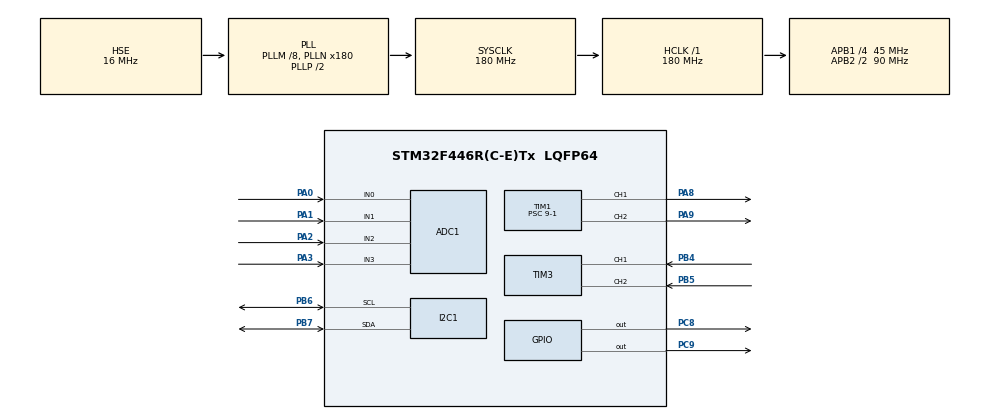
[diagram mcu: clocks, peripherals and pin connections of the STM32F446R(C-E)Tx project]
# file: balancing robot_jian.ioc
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ADC1.Channel-0\#ChannelRegularConversion=ADC_CHANNEL_0
ADC1.Channel-1\#ChannelRegularConversion=ADC_CHANNEL_0
ADC1.Channel-2\#ChannelRegularConversion=ADC_CHANNEL_0
ADC1.Channel-3\#ChannelRegularConversion=ADC_CHANNEL_0
ADC1.DMAContinuousRequests=ENABLE
ADC1.NbrOfConversion=4
ADC1.NbrOfConversionFlag=1
ADC1.Rank-0\#ChannelRegularConversion=1
ADC1.Rank-1\#ChannelRegularConversion=2
ADC1.Rank-2\#ChannelRegularConversion=3
ADC1.Rank-3\#ChannelRegularConversion=4
ADC1.SamplingTime-0\#ChannelRegularConversion=ADC_SAMPLETIME_15CYCLES
ADC1.SamplingTime-1\#ChannelRegularConversion=ADC_SAMPLETIME_15CYCLES
ADC1.SamplingTime-2\#ChannelRegularConversion=ADC_SAMPLETIME_15CYCLES
ADC1.SamplingTime-3\#ChannelRegularConversion=ADC_SAMPLETIME_15CYCLES
ADC1.ScanConvMode=ENABLE
ADC1.master=1
Dma.ADC1.0.Direction=DMA_PERIPH_TO_MEMORY
Dma.ADC1.0.FIFOMode=DMA_FIFOMODE_DISABLE
Dma.ADC1.0.Instance=DMA2_Stream0
Dma.ADC1.0.MemDataAlignment=DMA_MDATAALIGN_WORD
Dma.ADC1.0.MemInc=DMA_MINC_ENABLE
Dma.ADC1.0.Mode=DMA_CIRCULAR
Dma.ADC1.0.PeriphDataAlignment=DMA_PDATAALIGN_WORD
Dma.ADC1.0.PeriphInc=DMA_PINC_DISABLE
Dma.ADC1.0.Priority=DMA_PRIORITY_LOW
Dma.Request0=ADC1
Mcu.Family=STM32F4
Mcu.Name=STM32F446R(C-E)Tx
Mcu.Package=LQFP64
NVIC.ADC_IRQn=true\:0\:0\:false\:false\:true\:true\:true\:true
NVIC.DMA2_Stream0_IRQn=true\:0\:0\:false\:false\:true\:false\:true\:true
NVIC.PriorityGroup=NVIC_PRIORITYGROUP_4
NVIC.TIM1_BRK_TIM9_IRQn=true\:0\:0\:false\:false\:true\:true\:true\:true
NVIC.TIM1_CC_IRQn=true\:0\:0\:false\:false\:true\:true\:true\:true
NVIC.TIM1_TRG_COM_TIM11_IRQn=true\:0\:0\:false\:false\:true\:true\:true\:true
NVIC.TIM1_UP_TIM10_IRQn=true\:0\:0\:false\:false\:true\:true\:true\:true
NVIC.TIM6_DAC_IRQn=true\:0\:0\:false\:false\:true\:true\:true\:true
NVIC.TIM8_UP_TIM13_IRQn=true\:0\:0\:false\:false\:true\:true\:true\:true
PA0-WKUP.Signal=ADCx_IN0
PA1.Signal=ADCx_IN1
PA13.Mode=Serial_Wire
PA13.Signal=SYS_JTMS-SWDIO
PA14.Mode=Serial_Wire
PA14.Signal=SYS_JTCK-SWCLK
PA2.Signal=ADCx_IN2
PA3.Signal=ADCx_IN3
PA8.Signal=S_TIM1_CH1
PA9.Signal=S_TIM1_CH2
PB4.GPIO_PuPd=GPIO_PULLUP
PB4.Signal=S_TIM3_CH1
PB5.GPIO_PuPd=GPIO_PULLUP
PB5.Signal=S_TIM3_CH2
PB6.Mode=I2C
PB6.Signal=I2C1_SCL
PB7.Mode=I2C
PB7.Signal=I2C1_SDA
PC8.Signal=GPIO_Output
PC9.Signal=GPIO_Output
PH0-OSC_IN.Mode=HSE-External-Oscillator
PH0-OSC_IN.Signal=RCC_OSC_IN
PH1-OSC_OUT.Mode=HSE-External-Oscillator
PH1-OSC_OUT.Signal=RCC_OSC_OUT
ProjectManager.HeapSize=0x200
ProjectManager.StackSize=0x400
ProjectManager.TargetToolchain=STM32CubeIDE
RCC.AHBFreq_Value=180000000
RCC.APB1CLKDivider=RCC_HCLK_DIV4
RCC.APB1Freq_Value=45000000
RCC.APB1TimFreq_Value=90000000
RCC.APB2CLKDivider=RCC_HCLK_DIV2
RCC.APB2Freq_Value=90000000
RCC.APB2TimFreq_Value=180000000
RCC.CortexFreq_Value=180000000
RCC.HCLKFreq_Value=180000000
RCC.HSE_VALUE=16000000
RCC.PLLM=8
RCC.PLLN=180
RCC.PLLSourceVirtual=RCC_PLLSOURCE_HSE
RCC.SYSCLKFreq_VALUE=180000000
RCC.SYSCLKSource=RCC_SYSCLKSOURCE_PLLCLK
RCC.USBFreq_Value=180000000
RCC.VCOOutputFreq_Value=360000000
SH.ADCx_IN0.0=ADC1_IN0,IN0
SH.ADCx_IN1.0=ADC1_IN1,IN1
SH.ADCx_IN2.0=ADC1_IN2,IN2
SH.ADCx_IN3.0=ADC1_IN3,IN3
SH.S_TIM1_CH1.0=TIM1_CH1,PWM Generation1 CH1
SH.S_TIM1_CH2.0=TIM1_CH2,PWM Generation2 CH2
SH.S_TIM3_CH1.0=TIM3_CH1,Encoder_Interface
SH.S_TIM3_CH2.0=TIM3_CH2,Encoder_Interface
TIM1.Channel-PWM\ Generation1\ CH1=TIM_CHANNEL_1
TIM1.Channel-PWM\ Generation2\ CH2=TIM_CHANNEL_2
TIM1.Period=1000-1
TIM1.Prescaler=9-1
TIM3.EncoderMode=TIM_ENCODERMODE_TI12
TIM3.IC1Filter=5
TIM3.IC2Filter=5
TIM6.Period=1000-1
TIM6.Prescaler=900-1
TIM8.Period=10000-1
TIM8.Prescaler=180-1
TIM8.TIM_MasterOutputTrigger=TIM_TRGO_UPDATE
VP_TIM6_VS_ClockSourceINT.Mode=Enable_Timer
VP_TIM8_VS_ClockSourceINT.Mode=Internal
board=custom

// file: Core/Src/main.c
/* USER CODE BEGIN Header */
/**
  ******************************************************************************
  * @file           : main.c
  * @brief          : Main program body
  ******************************************************************************
  * @attention
  *
  * Copyright (c) 2024 STMicroelectronics.
  * All rights reserved.
  *
  * This software is licensed under terms that can be found in the LICENSE file
  * in the root directory of this software component.
  * If no LICENSE file comes with this software, it is provided AS-IS.
  *
  ******************************************************************************
  */
/* USER CODE END Header */
#include "main.h"

#include "adc.h"
#include "dma.h"
#include "i2c.h"
#include "tim.h"
#include "gpio.h"
#include <math.h>

/* USER CODE BEGIN Includes */
int target_speed = 0;
int speed = 0;
int current_speed;
int encoder_value;
int count = 0;
int encoder_arr[2];
int target_rpm;
int current_rpm;
float angle_xz_filtered = 0;
const float alpha = 0.98;
float angle_xz_kalman = 0;
float Q_angle = 0.001;
float Q_gyro = 0.003;
float R_angle = 0.5;

float bias = 0;
float P[2][2] = {{1, 0}, {0, 1}};
float Ax, Ay, Az, Gx, Gy, Gz;
float angle_xz;
float filtered_angle;

float Kp = 7;
float Ki = 0.6;
float Kd = 0.6;
float integral = 0;
float prev_error = 0;
float prev_derivative = 0;
float dt = 0.01;
float motor_value;
float a;
float pid_output;
float chg = -3.5;
/* USER CODE END Includes */

/* USER CODE BEGIN PD */
#define MPU6050_ADDR 0xD0
#define MPU6050_SMPLRT_DIV_REG 0x19
#define MPU6050_CONFIG_REG 0x1A
#define MPU6050_GYRO_CONFIG_REG 0x1B
#define MPU6050_ACCEL_CONFIG_REG 0x1C
#define MPU6050_WHO_AM_I_REG 0x75
#define MPU6050_PWR_MGMT_1_REG 0x6B
#define MPU6050_ACCEL_XOUT_H_REG 0x3B
#define MPU6050_GYRO_XOUT_H_REG 0x43

#define INTEGRAL_MAX 200
#define INTEGRAL_MIN -200

#define MIN_MOTOR_OUTPUT 80
#define MAX_MOTOR_OUTPUT 450

#define ANGLE_THRESHOLD 0
#define MAX_RESPONSE_ANGLE 45.0
/* USER CODE END PD */

/* USER CODE BEGIN PV */
uint8_t check;
int16_t Accel_X_RAW = 0;
int16_t Accel_Y_RAW = 0;
int16_t Accel_Z_RAW = 0;
int16_t Gyro_X_RAW = 0;
int16_t Gyro_Y_RAW = 0;
int16_t Gyro_Z_RAW = 0;
/* USER CODE END PV */

void SystemClock_Config(void);
/* USER CODE BEGIN PFP */
void MPU6050_Init(void);
void MPU6050_Read_Accel(void);
void MPU6050_Read_Gyro(void);
float Calculate_XZ_Angle(float Gx, float Gz);

void SystemClock_Config(void);
void Error_Handler(void);
void Update_Angle(void);
void Kalman_Filter(float new_angle, float new_rate);
/* USER CODE END PFP */

/* USER CODE BEGIN 0 */

float non_linear_response(float angle)
{
    float abs_angle = fabs(angle);
    float sign = (angle >= 0) ? 1.0f : -1.0f;

    if (abs_angle <= ANGLE_THRESHOLD)
    {
        return sign * (abs_angle * 0.8f);
    }
    else
    {
        float normalized = (abs_angle - ANGLE_THRESHOLD) / (MAX_RESPONSE_ANGLE - ANGLE_THRESHOLD);
        float response = ANGLE_THRESHOLD + (MAX_RESPONSE_ANGLE - ANGLE_THRESHOLD) *
                         (1 - expf(-1.5 * normalized));
        return sign * fminf(response, MAX_RESPONSE_ANGLE);
    }
}

float calculate_pid(float setpoint, float measured_value)
{
    float error = setpoint - measured_value;
    float non_linear_error = non_linear_response(error);

    integral += non_linear_error * dt;
    integral = fmaxf(fminf(integral, INTEGRAL_MAX), INTEGRAL_MIN);

    float derivative = (non_linear_error - prev_error) / dt;
    float filtered_derivative = 0.7f * derivative + 0.3f * prev_derivative;

    float output = Kp * non_linear_error + Ki * integral + Kd * filtered_derivative;

    if (fabs(error) > 0.2f)
    {
        float min_output = MIN_MOTOR_OUTPUT * (fminf(fabs(error), 1.0f) / 1.0f);
        if (fabs(output) < min_output)
        {
            output = (output >= 0) ? min_output : -min_output;
        }
    }

    prev_error = non_linear_error;
    prev_derivative = filtered_derivative;

    return output;  // Return the calculated output
}

void Kalman_Filter(float new_angle, float new_rate)
{
    angle_xz_kalman += (new_rate - bias) * dt;

    P[0][0] += Q_angle;
    P[0][1] -= P[0][1] * dt;
    P[1][0] -= P[1][0] * dt;
    P[1][1] += Q_gyro * dt;

    float y = new_angle - angle_xz_kalman;
    float S = P[0][0] + R_angle;
    float K[2];
    K[0] = P[0][0] / S;
    K[1] = P[1][0] / S;

    angle_xz_kalman += K[0] * y;
    bias += K[1] * y;

    float P00_temp = P[0][0];
    P[0][0] -= K[0] * P00_temp;
    P[0][1] -= K[0] * P[0][1];
    P[1][0] -= K[1] * P00_temp;
    P[1][1] -= K[1] * P[0][1];
}

void Update_Angle(void)
{
    angle_xz += Gx * (1.0 / 1000.0);
    float angle_xz_acc = Calculate_XZ_Angle(Ax, Az);
    angle_xz_filtered = alpha * angle_xz_filtered + (1 - alpha) * angle_xz_acc;
}

void MPU6050_Init(void)
{
  uint8_t check;
  uint8_t Data;

  HAL_I2C_Mem_Read(&hi2c1, MPU6050_ADDR, MPU6050_WHO_AM_I_REG, 1, &check, 1, 1000);

  if (check == 104)
  {
    Data = 0;
    HAL_I2C_Mem_Write(&hi2c1, MPU6050_ADDR, MPU6050_PWR_MGMT_1_REG, 1, &Data, 1, 1000);

    Data = 0x07;
    HAL_I2C_Mem_Write(&hi2c1, MPU6050_ADDR, MPU6050_SMPLRT_DIV_REG, 1, &Data, 1, 1000);

    Data = 0x00;
    HAL_I2C_Mem_Write(&hi2c1, MPU6050_ADDR, MPU6050_ACCEL_CONFIG_REG, 1, &Data, 1, 1000);

    Data = 0x00;
    HAL_I2C_Mem_Write(&hi2c1, MPU6050_ADDR, MPU6050_GYRO_CONFIG_REG, 1, &Data, 1, 1000);
  }
}

void MPU6050_Read_Accel(void)
{
  uint8_t Rec_Data[6];

  HAL_I2C_Mem_Read(&hi2c1, MPU6050_ADDR, MPU6050_ACCEL_XOUT_H_REG, 1, Rec_Data, 6, 1000);

  Accel_X_RAW = (int16_t)(Rec_Data[0] << 8 | Rec_Data[1]);
  Accel_Y_RAW = (int16_t)(Rec_Data[2] << 8 | Rec_Data[3]);
  Accel_Z_RAW = (int16_t)(Rec_Data[4] << 8 | Rec_Data[5]);

  Ax = Accel_X_RAW / 16384.0;
  Ay = Accel_Y_RAW / 16384.0;
  Az = Accel_Z_RAW / 16384.0;
}

void MPU6050_Read_Gyro(void)
{
  uint8_t Rec_Data[6];

  HAL_I2C_Mem_Read(&hi2c1, MPU6050_ADDR, MPU6050_GYRO_XOUT_H_REG, 1, Rec_Data, 6, 1000);

  Gyro_X_RAW = (int16_t)(Rec_Data[0] << 8 | Rec_Data[1]);
  Gyro_Y_RAW = (int16_t)(Rec_Data[2] << 8 | Rec_Data[3]);
  Gyro_Z_RAW = (int16_t)(Rec_Data[4] << 8 | Rec_Data[5]);

  Gx = Gyro_X_RAW / 131.0;
  Gy = Gyro_Y_RAW / 131.0;
  Gz = Gyro_Z_RAW / 131.0;
}

float Calculate_XZ_Angle(float Gx, float Gz)
{
  return atan2(Gx, Gz) * 180 / 3.14159265;
}
/* USER CODE END 0 */

int main(void)
{

  /* MCU Configuration--------------------------------------------------------*/

  /* Reset of all peripherals, Initializes the Flash interface and the Systick. */
	HAL_Init();

  /* Configure the system clock */
  SystemClock_Config();

  /* Initialize all configured peripherals */
  MX_GPIO_Init();
  MX_DMA_Init();
  MX_TIM1_Init();
  MX_TIM3_Init();
  MX_TIM6_Init();
  MX_I2C1_Init();
  MX_ADC1_Init();
  MX_TIM8_Init();
  /* USER CODE BEGIN 2 */
  HAL_TIM_PWM_Start(&htim1, TIM_CHANNEL_1);
  HAL_TIM_PWM_Start(&htim1, TIM_CHANNEL_2);
  HAL_TIM_Encoder_Start(&htim3, TIM_CHANNEL_ALL);
  HAL_TIM_Base_Start_IT(&htim6);

  MPU6050_Init();
  /* USER CODE END 2 */

  /* Infinite loop */
  /* USER CODE BEGIN WHILE */
  while (1)
    {
      MPU6050_Read_Accel();
      MPU6050_Read_Gyro();

      angle_xz = Calculate_XZ_Angle(Gx, Gz);
      Update_Angle();
      Kalman_Filter(angle_xz, Gx);

      filtered_angle = angle_xz_filtered+chg;
      encoder_value = TIM3->CNT;

      float setpoint = 0;
      pid_output = calculate_pid(setpoint, filtered_angle);

      pid_output = fmaxf(fminf(pid_output, MAX_MOTOR_OUTPUT), -MAX_MOTOR_OUTPUT);
      motor_value = fabsf(pid_output);

      if (pid_output >= 0)
      {
          HAL_GPIO_WritePin(GPIOC, GPIO_PIN_8, SET);
          HAL_GPIO_WritePin(GPIOC, GPIO_PIN_9, SET);
      }
      else
      {
          HAL_GPIO_WritePin(GPIOC, GPIO_PIN_8, RESET);
          HAL_GPIO_WritePin(GPIOC, GPIO_PIN_9, RESET);
      }

      TIM1->CCR1 = motor_value;
      TIM1->CCR2 = motor_value;

      a = filtered_angle * 10;
    }
  /* USER CODE END WHILE */
}
/* USER CODE END 3 */

void SystemClock_Config(void)
{
  RCC_OscInitTypeDef RCC_OscInitStruct = {0};
  RCC_ClkInitTypeDef RCC_ClkInitStruct = {0};

  /** Configure the main internal regulator output voltage
  */
  __HAL_RCC_PWR_CLK_ENABLE();
  __HAL_PWR_VOLTAGESCALING_CONFIG(PWR_REGULATOR_VOLTAGE_SCALE1);

  /** Initializes the RCC Oscillators according to the specified parameters
  * in the RCC_OscInitTypeDef structure.
  */
  RCC_OscInitStruct.OscillatorType = RCC_OSCILLATORTYPE_HSE;
  RCC_OscInitStruct.HSEState = RCC_HSE_ON;
  RCC_OscInitStruct.PLL.PLLState = RCC_PLL_ON;
  RCC_OscInitStruct.PLL.PLLSource = RCC_PLLSOURCE_HSE;
  RCC_OscInitStruct.PLL.PLLM = 8;
  RCC_OscInitStruct.PLL.PLLN = 180;
  RCC_OscInitStruct.PLL.PLLP = RCC_PLLP_DIV2;
  RCC_OscInitStruct.PLL.PLLQ = 2;
  RCC_OscInitStruct.PLL.PLLR = 2;
  if (HAL_RCC_OscConfig(&RCC_OscInitStruct) != HAL_OK)
  {
    Error_Handler();
  }

  /** Activate the Over-Drive mode
  */
  if (HAL_PWREx_EnableOverDrive() != HAL_OK)
  {
    Error_Handler();
  }

  /** Initializes the CPU, AHB and APB buses clocks
  */
  RCC_ClkInitStruct.ClockType = RCC_CLOCKTYPE_HCLK|RCC_CLOCKTYPE_SYSCLK|RCC_CLOCKTYPE_PCLK1|RCC_CLOCKTYPE_PCLK2;
  RCC_ClkInitStruct.SYSCLKSource = RCC_SYSCLKSOURCE_PLLCLK;
  RCC_ClkInitStruct.AHBCLKDivider = RCC_SYSCLK_DIV1;
  RCC_ClkInitStruct.APB1CLKDivider = RCC_HCLK_DIV4;
  RCC_ClkInitStruct.APB2CLKDivider = RCC_HCLK_DIV2;

  if (HAL_RCC_ClockConfig(&RCC_ClkInitStruct, FLASH_LATENCY_5) != HAL_OK)
  {
    Error_Handler();
  }
}

/* USER CODE BEGIN 4 */
void HAL_TIM_PeriodElapsedCallback(TIM_HandleTypeDef *htim)
{
   if(htim->Instance == TIM6)
   {
      encoder_arr[count] = encoder_value;
      count++;
      count = count % 2;
   }
}
/* USER CODE END 4 */

void Error_Handler(void)
{
  __disable_irq();
  while (1)
  {
  }
}
